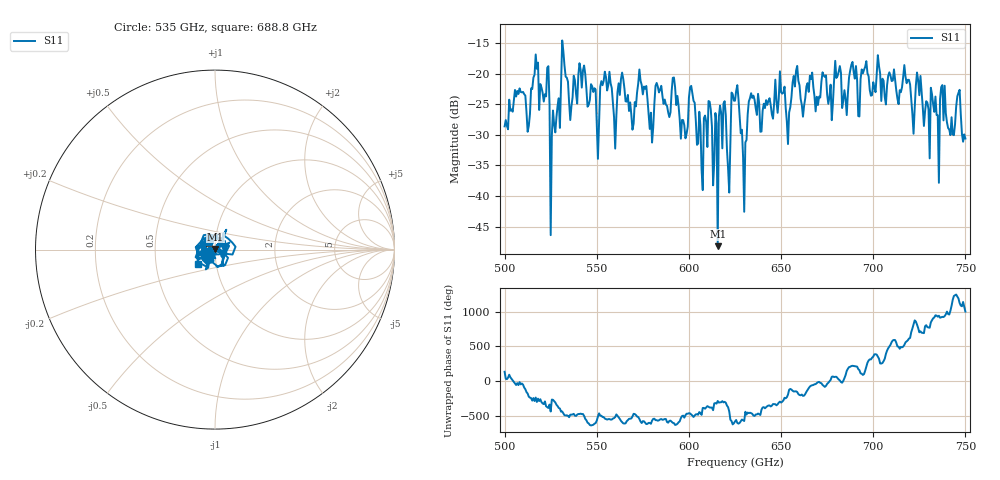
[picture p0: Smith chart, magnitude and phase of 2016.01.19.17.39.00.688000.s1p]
!Created with skrf (http://scikit-rf.org).
# GHz S RI R 50.0
!freq ReS11 ImS11
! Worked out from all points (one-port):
!   401 points, 500 GHz to 750 GHz, reference 50 ohm
!   lowest |S11| = -48.2 dB at 615.6 GHz (marker M1), VSWR 1.01, Z = 50.1 + j0.371 ohm
!   |S11| at or under -10 dB: start of sweep to end of sweep
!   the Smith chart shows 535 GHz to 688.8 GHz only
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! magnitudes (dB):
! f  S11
! 500 GHz  -28.6
! 506.9 GHz  -22.8
! 513.1 GHz  -28.5
! 516.9 GHz  -16.9
! 523.1 GHz  -19.0
! 526.2 GHz  -26.0
! 531.2 GHz  -14.6
! 550 GHz  -28.0
! 562.5 GHz  -23.5
! 568.8 GHz  -26.7
! 574.4 GHz  -21.8
! 579.4 GHz  -26.4
! 583.1 GHz  -22.1
! 593.8 GHz  -23.6
! 615.6 GHz  -48.2
! 618.1 GHz  -32.2
! 621.2 GHz  -35.5
! 625 GHz  -24.4
! 630 GHz  -42.6
! 633.8 GHz  -23.2
! 650.6 GHz  -23.3
! 653.8 GHz  -31.5
! 656.2 GHz  -21.4
! 687.5 GHz  -19.5
! 718.8 GHz  -21.0
! 742.5 GHz  -27.1
! 746.2 GHz  -23.1
! 750 GHz  -30.6
